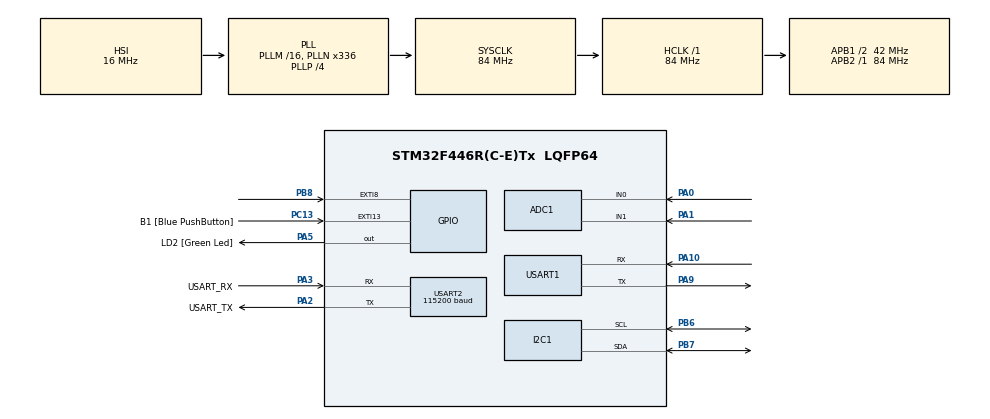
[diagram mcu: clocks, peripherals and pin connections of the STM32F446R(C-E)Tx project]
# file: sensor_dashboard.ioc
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ADC1.Channel-0\#ChannelRegularConversion=ADC_CHANNEL_1
ADC1.Channel-1\#ChannelRegularConversion=ADC_CHANNEL_0
ADC1.EOCSelection=ADC_EOC_SEQ_CONV
ADC1.NbrOfConversion=2
ADC1.NbrOfConversionFlag=1
ADC1.Rank-0\#ChannelRegularConversion=1
ADC1.Rank-1\#ChannelRegularConversion=2
ADC1.SamplingTime-0\#ChannelRegularConversion=ADC_SAMPLETIME_15CYCLES
ADC1.SamplingTime-1\#ChannelRegularConversion=ADC_SAMPLETIME_15CYCLES
ADC1.ScanConvMode=ENABLE
ADC1.master=1
Dma.ADC1.0.Direction=DMA_PERIPH_TO_MEMORY
Dma.ADC1.0.FIFOMode=DMA_FIFOMODE_DISABLE
Dma.ADC1.0.Instance=DMA2_Stream0
Dma.ADC1.0.MemDataAlignment=DMA_MDATAALIGN_HALFWORD
Dma.ADC1.0.MemInc=DMA_MINC_ENABLE
Dma.ADC1.0.Mode=DMA_CIRCULAR
Dma.ADC1.0.PeriphDataAlignment=DMA_PDATAALIGN_HALFWORD
Dma.ADC1.0.PeriphInc=DMA_PINC_DISABLE
Dma.ADC1.0.Priority=DMA_PRIORITY_LOW
Dma.Request0=ADC1
I2C1.I2C_Mode=I2C_Standard
Mcu.Family=STM32F4
Mcu.Name=STM32F446R(C-E)Tx
Mcu.Package=LQFP64
NVIC.DMA2_Stream0_IRQn=true\:6\:0\:true\:false\:true\:false\:true\:true
NVIC.EXTI9_5_IRQn=true\:6\:0\:true\:false\:true\:true\:true\:true
NVIC.PriorityGroup=NVIC_PRIORITYGROUP_4
NVIC.TIM1_UP_TIM10_IRQn=true\:15\:0\:false\:false\:true\:false\:true\:true
NVIC.TimeBase=TIM1_UP_TIM10_IRQn
NVIC.TimeBaseIP=TIM1
PA0-WKUP.Signal=ADCx_IN0
PA1.Signal=ADCx_IN1
PA10.Mode=Asynchronous
PA10.Signal=USART1_RX
PA13.GPIO_Label=TMS
PA13.Mode=Serial_Wire
PA13.Signal=SYS_JTMS-SWDIO
PA14.GPIO_Label=TCK
PA14.Mode=Serial_Wire
PA14.Signal=SYS_JTCK-SWCLK
PA2.GPIO_Label=USART_TX
PA2.Mode=Asynchronous
PA2.Signal=USART2_TX
PA3.GPIO_Label=USART_RX
PA3.Mode=Asynchronous
PA3.Signal=USART2_RX
PA5.GPIO_Label=LD2 [Green Led]
PA5.Signal=GPIO_Output
PA9.Mode=Asynchronous
PA9.Signal=USART1_TX
PB3.GPIO_Label=SWO
PB3.Signal=SYS_JTDO-SWO
PB6.Mode=I2C
PB6.Signal=I2C1_SCL
PB7.Mode=I2C
PB7.Signal=I2C1_SDA
PB8.GPIO_ModeDefaultEXTI=GPIO_MODE_IT_FALLING
PB8.Signal=GPXTI8
PC13.GPIO_Label=B1 [Blue PushButton]
PC13.GPIO_ModeDefaultEXTI=GPIO_MODE_IT_FALLING
PC13.Signal=GPXTI13
PC14-OSC32_IN.Mode=LSE-External-Oscillator
PC14-OSC32_IN.Signal=RCC_OSC32_IN
PC15-OSC32_OUT.Mode=LSE-External-Oscillator
PC15-OSC32_OUT.Signal=RCC_OSC32_OUT
PH0-OSC_IN.Mode=HSE-External-Oscillator
PH0-OSC_IN.Signal=RCC_OSC_IN
PH1-OSC_OUT.Mode=HSE-External-Oscillator
PH1-OSC_OUT.Signal=RCC_OSC_OUT
ProjectManager.HeapSize=0x200
ProjectManager.StackSize=0x400
ProjectManager.TargetToolchain=STM32CubeIDE
RCC.48MHZClocksFreq_Value=84000000
RCC.AHBFreq_Value=84000000
RCC.APB1CLKDivider=RCC_HCLK_DIV2
RCC.APB1Freq_Value=42000000
RCC.APB1TimFreq_Value=84000000
RCC.APB2Freq_Value=84000000
RCC.APB2TimFreq_Value=84000000
RCC.CortexFreq_Value=84000000
RCC.FLatency-AdvancedSettings=FLASH_LATENCY_2
RCC.HCLKFreq_Value=84000000
RCC.HSE_VALUE=8000000
RCC.HSI_VALUE=16000000
RCC.PLLN=336
RCC.PLLP=RCC_PLLP_DIV4
RCC.SYSCLKFreq_VALUE=84000000
RCC.SYSCLKSource=RCC_SYSCLKSOURCE_PLLCLK
RCC.USBFreq_Value=168000000
RCC.VCOOutputFreq_Value=336000000
SH.ADCx_IN0.0=ADC1_IN0,IN0
SH.ADCx_IN1.0=ADC1_IN1,IN1
USART1.VirtualMode=VM_ASYNC
USART2.BaudRate=115200
USART2.VirtualMode=VM_ASYNC
VP_SYS_VS_tim1.Mode=TIM1
board=NUCLEO-F446RE

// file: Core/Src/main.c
/* USER CODE BEGIN Header */
/**
  ******************************************************************************
  * @file           : main.c
  * @brief          : Main program body
  ******************************************************************************
  * @attention
  *
  * Copyright (c) 2025 STMicroelectronics.
  * All rights reserved.
  *
  * This software is licensed under terms that can be found in the LICENSE file
  * in the root directory of this software component.
  * If no LICENSE file comes with this software, it is provided AS-IS.
  *
  ******************************************************************************
  */
/* USER CODE END Header */
#include "main.h"

/* USER CODE BEGIN Includes */
#include "FreeRTOS.h"
#include "task.h"
#include "queue.h"
#include <stdio.h>
#include <string.h>
/* USER CODE END Includes */

ADC_HandleTypeDef hadc1;
DMA_HandleTypeDef hdma_adc1;

I2C_HandleTypeDef hi2c1;

UART_HandleTypeDef huart1;
UART_HandleTypeDef huart2;

/* USER CODE BEGIN PV */
char temp[2000];

accl_t accl;
gyro_t gyro;
imu_data_t imu_data;
joy_data_t joy_data;

volatile uint8_t imu_fifo_buffer[12];
volatile uint16_t adc_buffer[2];

TaskHandle_t imu_task_handle;
TaskHandle_t comm_task_handle;
TaskHandle_t joy_task_handle;

QueueHandle_t imu_data_queue;
QueueHandle_t joy_data_queue;
/* USER CODE END PV */

void SystemClock_Config(void);
static void MX_GPIO_Init(void);
static void MX_DMA_Init(void);
static void MX_USART2_UART_Init(void);
static void MX_ADC1_Init(void);
static void MX_I2C1_Init(void);
static void MX_USART1_UART_Init(void);
/* USER CODE BEGIN PFP */
void imu_task(void* arg);
void joy_task(void* arg);
void comm_task(void* arg);
/* USER CODE END PFP */

int main(void)
{

  /* MCU Configuration--------------------------------------------------------*/

  /* Reset of all peripherals, Initializes the Flash interface and the Systick. */
  HAL_Init();

  /* Configure the system clock */
  SystemClock_Config();

  /* Initialize all configured peripherals */
  MX_GPIO_Init();
  MX_DMA_Init();
  MX_USART2_UART_Init();
  MX_ADC1_Init();
  MX_I2C1_Init();
  MX_USART1_UART_Init();
  /* USER CODE BEGIN 2 */

  xTaskCreate(imu_task, "IMUTask", configMINIMAL_STACK_SIZE, NULL, 3, &imu_task_handle);
  xTaskCreate(joy_task, "JoystickTask", configMINIMAL_STACK_SIZE, NULL, 2, &joy_task_handle);
  xTaskCreate(comm_task, "CommTask", configMINIMAL_STACK_SIZE*2, NULL, 1, &comm_task_handle);

  imu_data_queue = xQueueCreate(20, sizeof(imu_data_t));
  joy_data_queue = xQueueCreate(20, sizeof(joy_data_t));

  vTaskStartScheduler();
  /* USER CODE END 2 */

  /* Infinite loop */
  while (1)
  {

  }
}

void SystemClock_Config(void)
{
  RCC_OscInitTypeDef RCC_OscInitStruct = {0};
  RCC_ClkInitTypeDef RCC_ClkInitStruct = {0};

  /** Configure the main internal regulator output voltage
  */
  __HAL_RCC_PWR_CLK_ENABLE();
  __HAL_PWR_VOLTAGESCALING_CONFIG(PWR_REGULATOR_VOLTAGE_SCALE3);

  /** Initializes the RCC Oscillators according to the specified parameters
  * in the RCC_OscInitTypeDef structure.
  */
  RCC_OscInitStruct.OscillatorType = RCC_OSCILLATORTYPE_HSI;
  RCC_OscInitStruct.HSIState = RCC_HSI_ON;
  RCC_OscInitStruct.HSICalibrationValue = RCC_HSICALIBRATION_DEFAULT;
  RCC_OscInitStruct.PLL.PLLState = RCC_PLL_ON;
  RCC_OscInitStruct.PLL.PLLSource = RCC_PLLSOURCE_HSI;
  RCC_OscInitStruct.PLL.PLLM = 16;
  RCC_OscInitStruct.PLL.PLLN = 336;
  RCC_OscInitStruct.PLL.PLLP = RCC_PLLP_DIV4;
  RCC_OscInitStruct.PLL.PLLQ = 2;
  RCC_OscInitStruct.PLL.PLLR = 2;
  if (HAL_RCC_OscConfig(&RCC_OscInitStruct) != HAL_OK)
  {
    Error_Handler();
  }

  /** Initializes the CPU, AHB and APB buses clocks
  */
  RCC_ClkInitStruct.ClockType = RCC_CLOCKTYPE_HCLK|RCC_CLOCKTYPE_SYSCLK
                              |RCC_CLOCKTYPE_PCLK1|RCC_CLOCKTYPE_PCLK2;
  RCC_ClkInitStruct.SYSCLKSource = RCC_SYSCLKSOURCE_PLLCLK;
  RCC_ClkInitStruct.AHBCLKDivider = RCC_SYSCLK_DIV1;
  RCC_ClkInitStruct.APB1CLKDivider = RCC_HCLK_DIV2;
  RCC_ClkInitStruct.APB2CLKDivider = RCC_HCLK_DIV1;

  if (HAL_RCC_ClockConfig(&RCC_ClkInitStruct, FLASH_LATENCY_2) != HAL_OK)
  {
    Error_Handler();
  }
}

static void MX_ADC1_Init(void)
{

  ADC_ChannelConfTypeDef sConfig = {0};

  /** Configure the global features of the ADC (Clock, Resolution, Data Alignment and number of conversion)
  */
  hadc1.Instance = ADC1;
  hadc1.Init.ClockPrescaler = ADC_CLOCK_SYNC_PCLK_DIV4;
  hadc1.Init.Resolution = ADC_RESOLUTION_12B;
  hadc1.Init.ScanConvMode = ENABLE;
  hadc1.Init.ContinuousConvMode = DISABLE;
  hadc1.Init.DiscontinuousConvMode = DISABLE;
  hadc1.Init.ExternalTrigConvEdge = ADC_EXTERNALTRIGCONVEDGE_NONE;
  hadc1.Init.ExternalTrigConv = ADC_SOFTWARE_START;
  hadc1.Init.DataAlign = ADC_DATAALIGN_RIGHT;
  hadc1.Init.NbrOfConversion = 2;
  hadc1.Init.DMAContinuousRequests = DISABLE;
  hadc1.Init.EOCSelection = ADC_EOC_SEQ_CONV;
  if (HAL_ADC_Init(&hadc1) != HAL_OK)
  {
    Error_Handler();
  }

  /** Configure for the selected ADC regular channel its corresponding rank in the sequencer and its sample time.
  */
  sConfig.Channel = ADC_CHANNEL_1;
  sConfig.Rank = 1;
  sConfig.SamplingTime = ADC_SAMPLETIME_15CYCLES;
  if (HAL_ADC_ConfigChannel(&hadc1, &sConfig) != HAL_OK)
  {
    Error_Handler();
  }

  /** Configure for the selected ADC regular channel its corresponding rank in the sequencer and its sample time.
  */
  sConfig.Channel = ADC_CHANNEL_0;
  sConfig.Rank = 2;
  if (HAL_ADC_ConfigChannel(&hadc1, &sConfig) != HAL_OK)
  {
    Error_Handler();
  }

}

static void MX_I2C1_Init(void)
{

  hi2c1.Instance = I2C1;
  hi2c1.Init.ClockSpeed = 100000;
  hi2c1.Init.DutyCycle = I2C_DUTYCYCLE_2;
  hi2c1.Init.OwnAddress1 = 0;
  hi2c1.Init.AddressingMode = I2C_ADDRESSINGMODE_7BIT;
  hi2c1.Init.DualAddressMode = I2C_DUALADDRESS_DISABLE;
  hi2c1.Init.OwnAddress2 = 0;
  hi2c1.Init.GeneralCallMode = I2C_GENERALCALL_DISABLE;
  hi2c1.Init.NoStretchMode = I2C_NOSTRETCH_DISABLE;
  if (HAL_I2C_Init(&hi2c1) != HAL_OK)
  {
    Error_Handler();
  }

}

static void MX_USART1_UART_Init(void)
{

  huart1.Instance = USART1;
  huart1.Init.BaudRate = 115200;
  huart1.Init.WordLength = UART_WORDLENGTH_8B;
  huart1.Init.StopBits = UART_STOPBITS_1;
  huart1.Init.Parity = UART_PARITY_NONE;
  huart1.Init.Mode = UART_MODE_TX_RX;
  huart1.Init.HwFlowCtl = UART_HWCONTROL_NONE;
  huart1.Init.OverSampling = UART_OVERSAMPLING_16;
  if (HAL_UART_Init(&huart1) != HAL_OK)
  {
    Error_Handler();
  }

}

static void MX_USART2_UART_Init(void)
{

  huart2.Instance = USART2;
  huart2.Init.BaudRate = 115200;
  huart2.Init.WordLength = UART_WORDLENGTH_8B;
  huart2.Init.StopBits = UART_STOPBITS_1;
  huart2.Init.Parity = UART_PARITY_NONE;
  huart2.Init.Mode = UART_MODE_TX_RX;
  huart2.Init.HwFlowCtl = UART_HWCONTROL_NONE;
  huart2.Init.OverSampling = UART_OVERSAMPLING_16;
  if (HAL_UART_Init(&huart2) != HAL_OK)
  {
    Error_Handler();
  }

}

static void MX_DMA_Init(void)
{

  /* DMA controller clock enable */
  __HAL_RCC_DMA2_CLK_ENABLE();

  /* DMA interrupt init */
  /* DMA2_Stream0_IRQn interrupt configuration */
  HAL_NVIC_SetPriority(DMA2_Stream0_IRQn, 6, 0);
  HAL_NVIC_EnableIRQ(DMA2_Stream0_IRQn);

}

static void MX_GPIO_Init(void)
{
  GPIO_InitTypeDef GPIO_InitStruct = {0};

  /* GPIO Ports Clock Enable */
  __HAL_RCC_GPIOC_CLK_ENABLE();
  __HAL_RCC_GPIOH_CLK_ENABLE();
  __HAL_RCC_GPIOA_CLK_ENABLE();
  __HAL_RCC_GPIOB_CLK_ENABLE();

  /*Configure GPIO pin Output Level */
  HAL_GPIO_WritePin(LD2_GPIO_Port, LD2_Pin, GPIO_PIN_RESET);

  /*Configure GPIO pin : B1_Pin */
  GPIO_InitStruct.Pin = B1_Pin;
  GPIO_InitStruct.Mode = GPIO_MODE_IT_FALLING;
  GPIO_InitStruct.Pull = GPIO_NOPULL;
  HAL_GPIO_Init(B1_GPIO_Port, &GPIO_InitStruct);

  /*Configure GPIO pin : LD2_Pin */
  GPIO_InitStruct.Pin = LD2_Pin;
  GPIO_InitStruct.Mode = GPIO_MODE_OUTPUT_PP;
  GPIO_InitStruct.Pull = GPIO_NOPULL;
  GPIO_InitStruct.Speed = GPIO_SPEED_FREQ_LOW;
  HAL_GPIO_Init(LD2_GPIO_Port, &GPIO_InitStruct);

  /*Configure GPIO pin : PB8 */
  GPIO_InitStruct.Pin = GPIO_PIN_8;
  GPIO_InitStruct.Mode = GPIO_MODE_IT_FALLING;
  GPIO_InitStruct.Pull = GPIO_NOPULL;
  HAL_GPIO_Init(GPIOB, &GPIO_InitStruct);

  /* EXTI interrupt init*/
  HAL_NVIC_SetPriority(EXTI9_5_IRQn, 6, 0);
  HAL_NVIC_EnableIRQ(EXTI9_5_IRQn);

}

/* USER CODE BEGIN 4 */
void imu_task(void* arg)
{
	mpu6050_init(&hi2c1);
	mpu6050_intr_config(MPU6050_INTR_DATA_READY | MPU6050_INTR_FIFO_OVERFLOW);
	mpu6050_set_sample_rate_divider(50);
	mpu6050_fifo_reset();
	mpu6050_fifo_enable(1, 1);
	while(1)
	{
		xTaskNotifyWait(0, 0, NULL, portMAX_DELAY);
		mpu6050_process_raw_accl(imu_fifo_buffer, &accl);
		mpu6050_process_raw_gyro(imu_fifo_buffer+6, &gyro);

//		if(uxQueueMessagesWaiting(imu_data_queue) == 10)
//		{
//			while(1);
//		}
		imu_data.accl.acc_x = accl.acc_x;
		imu_data.accl.acc_y = accl.acc_y;
		imu_data.accl.acc_z = accl.acc_z;
		imu_data.gyro.gyro_x = gyro.gyro_x;
		imu_data.gyro.gyro_y = gyro.gyro_y;
		imu_data.gyro.gyro_z = gyro.gyro_z;
		xQueueSend(imu_data_queue, (void*) &imu_data, portMAX_DELAY);
	}
}
void joy_task(void* arg)
{
	while(1)
	{
		HAL_ADC_Start_DMA(&hadc1, adc_buffer, 2);
		xTaskNotifyWait(0, 0, NULL, portMAX_DELAY);
		joy_data.joy_x = adc_buffer[0];
		joy_data.joy_y = adc_buffer[1];

//		if(uxQueueMessagesWaiting(joy_data_queue) == 10)
//		{
//			while(1);
//		}
		xQueueSend(joy_data_queue, (void*) &joy_data, portMAX_DELAY);
		vTaskDelay(pdMS_TO_TICKS(50));
	}
}
void comm_task(void* arg)
{
	while(1)
	{
//		char* msg = "Hello\r\n";
//		HAL_UART_Transmit(&huart1, msg, 7, HAL_MAX_DELAY);
		if(uxQueueMessagesWaiting(imu_data_queue) > 0)
		{
			// char* imu_msg = "\r\nIMU: ";
			// uint8_t imu_buffer[sizeof(imu_data_t)];
			// xQueueReceive(imu_data_queue, imu_buffer, portMAX_DELAY);
			imu_data_t cur_data;
			xQueueReceive(imu_data_queue, &cur_data, portMAX_DELAY);
			sprintf(temp, "IMU: %f, %f, %f, %f, %f, %f\r\n", cur_data.accl.acc_x, cur_data.accl.acc_y, cur_data.accl.acc_z, cur_data.gyro.gyro_x, cur_data.gyro.gyro_y, cur_data.gyro.gyro_z);
			// HAL_UART_Transmit(&huart1, imu_msg, 7, HAL_MAX_DELAY);
			// HAL_UART_Transmit(&huart1, imu_buffer, sizeof(imu_data_t), HAL_MAX_DELAY);
			HAL_UART_Transmit(&huart1, temp, strlen(temp), HAL_MAX_DELAY);
		}
		if(uxQueueMessagesWaiting(joy_data_queue) > 0)
		{
			// char* joy_msg = "\r\nJOY: ";
			// uint8_t joy_buffer[sizeof(joy_data_t)];
			//xQueueReceive(joy_data_queue, joy_buffer, portMAX_DELAY);
			joy_data_t cur_data;
			xQueueReceive(joy_data_queue, &cur_data, portMAX_DELAY);
			sprintf(temp, "JOY: %d, %d\r\n", cur_data.joy_x, cur_data.joy_y);
			// HAL_UART_Transmit(&huart1, joy_msg, 7, HAL_MAX_DELAY);
			// HAL_UART_Transmit(&huart1, joy_buffer, sizeof(joy_data_t), HAL_MAX_DELAY);
			HAL_UART_Transmit(&huart1, temp, strlen(temp), HAL_MAX_DELAY);
		}
		vTaskDelay(pdMS_TO_TICKS(50));
	}
}
void HAL_GPIO_EXTI_Callback(uint16_t GPIO_Pin)
{
	if(GPIO_Pin == GPIO_PIN_8)
	{
		mpu6050_intr_handler();
	}
}
void mpu6050_data_ready_intr_handler(void)
{
	BaseType_t xHigherPriorityTaskWoken = pdFALSE;
	uint16_t fifo_count = mpu6050_get_fifo_count();
	if (fifo_count >= 12)
	{
	    mpu6050_read_fifo_data(imu_fifo_buffer, 12);
	    xTaskNotifyFromISR(imu_task_handle, 0, eNoAction, &xHigherPriorityTaskWoken);
	}
}
void mpu6050_fifo_overflow_intr_handler(void)
{
//	sprintf(msg, "FIFO overflowed!!!\r\n");
//	HAL_UART_Transmit(&huart2, msg, strlen(msg), HAL_MAX_DELAY);
	mpu6050_fifo_reset();
	mpu6050_fifo_enable(1, 1);
}
void HAL_ADC_ConvCpltCallback(ADC_HandleTypeDef *hadc)
{
	BaseType_t xHigherPriorityTaskWoken = pdFALSE;
	if(hadc->Instance == ADC1)
	{
		xTaskNotifyFromISR(joy_task_handle, 0, eNoAction, &xHigherPriorityTaskWoken);
	}
}
void vApplicationIdleHook(void)
{
	__WFI();
}
/* USER CODE END 4 */

void HAL_TIM_PeriodElapsedCallback(TIM_HandleTypeDef *htim)
{
  if (htim->Instance == TIM1)
  {
    HAL_IncTick();
  }
}

void Error_Handler(void)
{
  __disable_irq();
  while (1)
  {
  }
}
